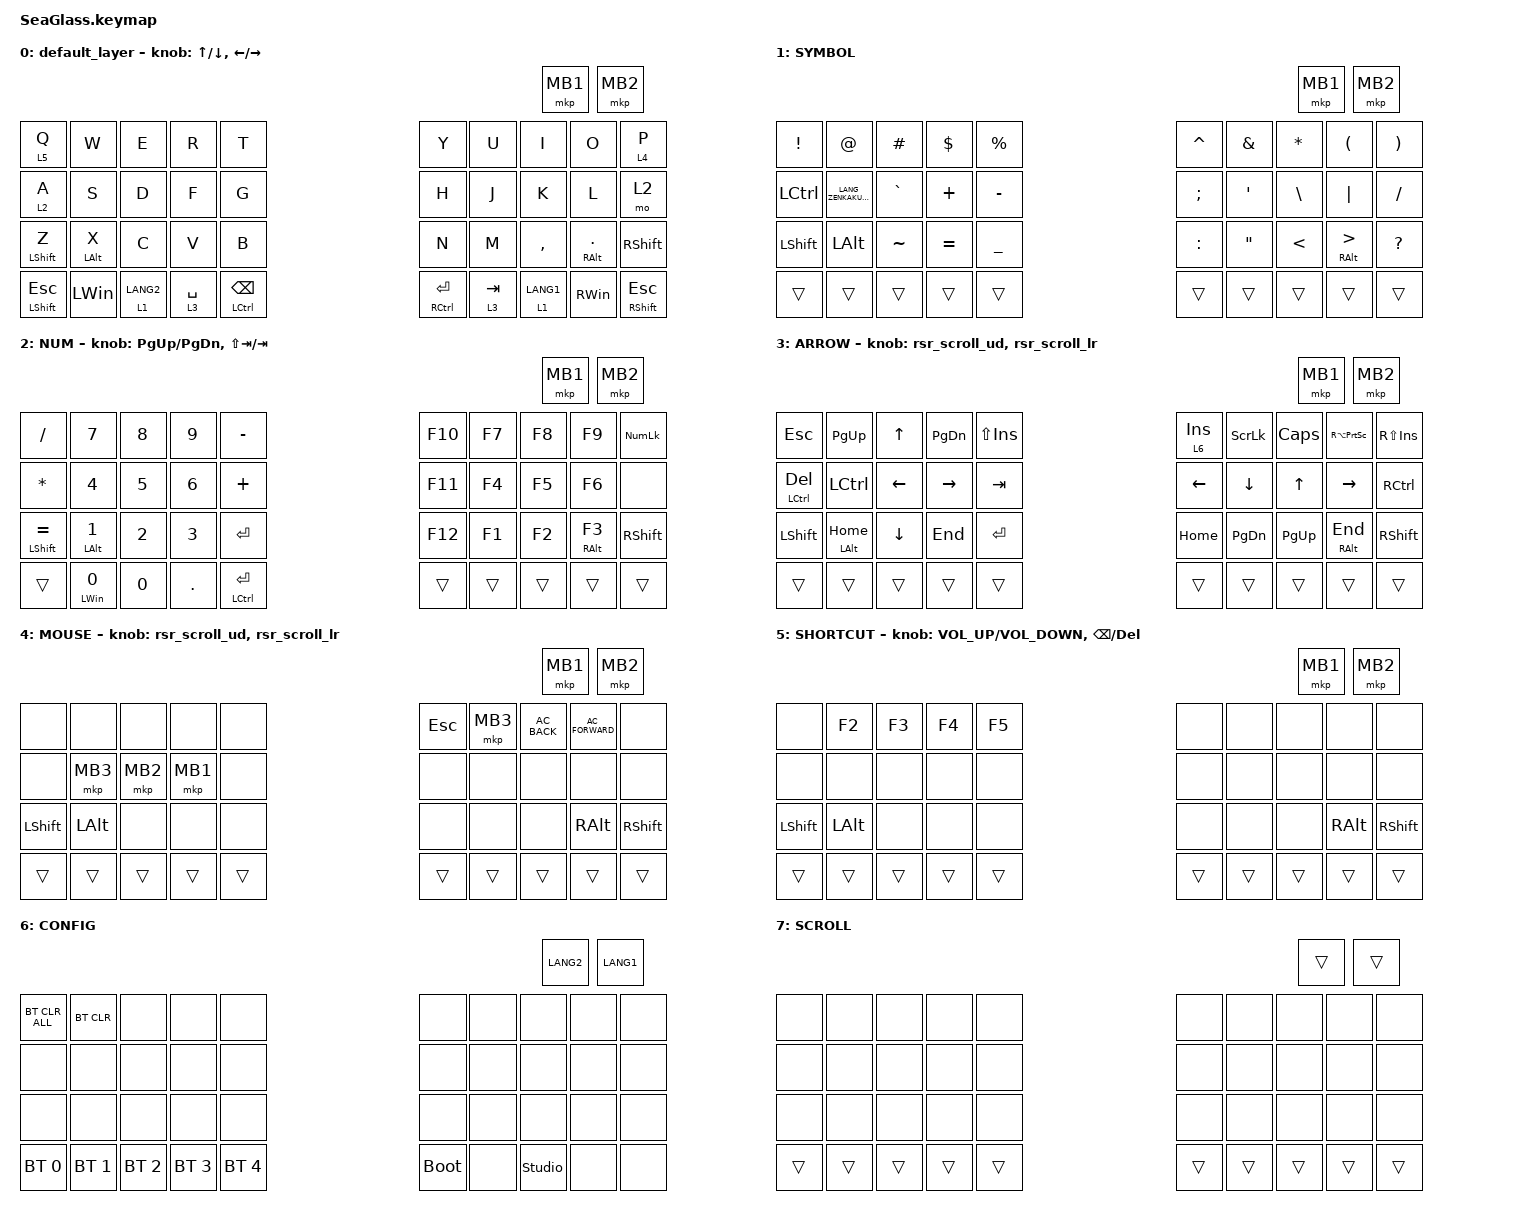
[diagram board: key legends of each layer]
// #include <layout_shift.dtsi>

#include <behaviors/runtime-sensor-rotate.dtsi>
#include <behaviors/runtime_macro.dtsi>
#include <behaviors.dtsi>
#include <dt-bindings/zmk/bt.h>
#include <dt-bindings/zmk/keys.h>
#include <dt-bindings/zmk/pointing.h>

#undef ZMK_POINTING_DEFAULT_SCRL_VAL

#define ZMK_POINTING_DEFAULT_SCRL_VAL 120

// &tog_ls { layout-maps = <&layout_shift_map_us_to_jis>; };
// &tog_ls_on { layout-maps = <&layout_shift_map_us_to_jis>; };
// &tog_ls_off { layout-maps = <&layout_shift_map_us_to_jis>; };

&mt {
    flavor = "balanced";
    quick-tap-ms = <300>;
};

&lt {
    flavor = "balanced";
    quick-tap-ms = <300>;
};

/ {
    runtime_combo_defaults {
        compatible = "cormoran,runtime-combo-defaults";

        middle-click {
            slot = <0>;
            bindings = <&mkp MB3>;
            key-positions = <40 41>;
            display-name = "Middle Click";
        };

        open-square-bracket {
            slot = <1>;
            bindings = <&kp LEFT_BRACKET>;
            key-positions = <16 17>;
            layers = <0>;
            display-name = "open-square-bracket";
        };

        close-square-bracket {
            slot = <2>;
            bindings = <&kp RIGHT_BRACKET>;
            key-positions = <17 18>;
            layers = <0>;
            display-name = "close-square-bracket";
        };

        open-brace {
            slot = <3>;
            bindings = <&kp LEFT_BRACE>;
            key-positions = <26 27>;
            layers = <0>;
            display-name = "open-brace";
        };

        close-brace {
            slot = <4>;
            bindings = <&kp RIGHT_BRACE>;
            key-positions = <27 28>;
            layers = <0>;
            display-name = "close-brace";
        };

        parentheses {
            slot = <5>;
            bindings = <&kakko>;
            key-positions = <6 8>;
            layers = <0>;
            display-name = "parentheses";
        };

        square-brackets {
            bindings = <&dai_kakkko>;
            key-positions = <16 18>;
            layers = <0>;
        };

        curly-brackets {
            bindings = <&nami_kakko>;
            key-positions = <26 28>;
        };
    };

    macros {
        to_layer_0: to_layer_0 {
            compatible = "zmk,behavior-macro-one-param";
            #binding-cells = <1>;
            bindings = <&to 0 &macro_param_1to1 &kp MACRO_PLACEHOLDER>;
            label = "TO_LAYER_0";
        };

        kakko: kakko {
            compatible = "zmk,behavior-macro";
            #binding-cells = <0>;
            bindings = <&kp LEFT_PARENTHESIS &kp RIGHT_PARENTHESIS &kp LEFT_ARROW>;
            label = "KAKKO";
        };

        dai_kakkko: daikakkko {
            compatible = "zmk,behavior-macro";
            #binding-cells = <0>;
            bindings = <&kp LEFT_BRACKET &kp RIGHT_BRACKET &kp LEFT_ARROW>;
            label = "DAIKAKKKO";
        };

        nami_kakko: nami_kakko {
            compatible = "zmk,behavior-macro";
            #binding-cells = <0>;
            bindings = <&kp LEFT_BRACE &kp RIGHT_BRACE &kp LEFT_ARROW>;
            label = "NAMI_KAKKO";
        };
    };

    behaviors {
        lt_to_layer_0: lt_to_layer_0 {
            compatible = "zmk,behavior-hold-tap";
            label = "LAYER_TAP_TO_0";
            bindings = <&mo>, <&to_layer_0>;

            #binding-cells = <2>;
            tapping-term-ms = <200>;
        };

        rsr_scroll_ud: rsr_scroll_ud {
            compatible = "zmk,behavior-runtime-sensor-rotate";
            #sensor-binding-cells = <0>;
            tap-ms = <20>;
            cw-binding = <&msc SCRL_UP>;
            ccw-binding = <&msc SCRL_DOWN>;
        };

        rsr_scroll_lr: rsr_scroll_lr {
            compatible = "zmk,behavior-runtime-sensor-rotate";
            #sensor-binding-cells = <0>;
            tap-ms = <20>;
            cw-binding = <&msc SCRL_RIGHT>;
            ccw-binding = <&msc SCRL_LEFT>;
        };

        // // Keymap Editor を使用すると include <layout_shift_kp_override.dtsi> が一番上に移動するため
        // // layout_shift_kp_override.dtsi の内容を直接記載
        // // Keep the original key_press behavior for ZMK core components
        // original_key_press: original_key_press {
        //     compatible = "zmk,behavior-key-press";
        //     #binding-cells = <1>;
        //     label = "KEY_PRESS";
        // };
        // // Override the existing &kp behavior to use our custom implementation
        // kp: key_press {
        //     compatible = "zmk,behavior-layout-shift-key-press";
        //     #binding-cells = <1>;
        //     label = "LAYOUT_SHIFT_KEY_PRESS";
        // };

        lt_hp: lt_hp {
            compatible = "zmk,behavior-hold-tap";
            label = "LT_HP";
            bindings = <&mo>, <&kp>;

            #binding-cells = <2>;
            tapping-term-ms = <200>;
            quick-tap-ms = <300>;
        };

        mt_hp: mt_hp {
            compatible = "zmk,behavior-hold-tap";
            label = "MT_HP";
            bindings = <&kp>, <&kp>;

            #binding-cells = <2>;
            tapping-term-ms = <200>;
            quick-tap-ms = <300>;
        };

        tl_tp: tl_tp {
            compatible = "zmk,behavior-hold-tap";
            label = "TL_TP";
            bindings = <&mo>, <&kp>;

            #binding-cells = <2>;
            tapping-term-ms = <200>;
            quick-tap-ms = <300>;
            flavor = "tap-preferred";
        };

        td_lalt_win: td_lalt_win {
            compatible = "zmk,behavior-tap-dance";
            label = "TD_LALT_WIN";
            #binding-cells = <0>;
            bindings = <&mt_hp LEFT_ALT LEFT_ALT>, <&kp LEFT_WIN>;
        };

        td_dot_alt_win: td_dot_alt_win {
            compatible = "zmk,behavior-tap-dance";
            label = "TD_DOT_ALT_WIN";
            #binding-cells = <0>;
            bindings = <&mt_hp LEFT_ALT PERIOD>, <&kp LEFT_WIN>;
        };

        td_x_alt_win: td_x_alt_win {
            compatible = "zmk,behavior-tap-dance";
            label = "TD_X_ALT_WIN";
            #binding-cells = <0>;
            bindings = <&mt_hp LEFT_ALT X>, <&kp LEFT_WIN>;
        };

        td_ralt_win: td_ralt_win {
            compatible = "zmk,behavior-tap-dance";
            label = "TD_RALT_WIN";
            #binding-cells = <0>;
            bindings = <&mt_hp RIGHT_ALT RIGHT_ALT>, <&kp LEFT_WIN>;
        };
    };

    keymap {
        compatible = "zmk,keymap";

        default_layer {
            bindings = <
&lt 5 Q                   &kp W              &kp E           &kp R           &kp T                   &kp Y                       &kp U         &kp I           &kp O                    &lt 4 P
&tl_tp 2 A                &kp S              &kp D           &kp F           &kp G                   &kp H                       &kp J         &kp K           &kp L                    &mo 2
&mt LEFT_SHIFT Z          &mt_hp LEFT_ALT X  &kp C           &kp V           &kp B                   &kp N                       &kp M         &kp COMMA       &mt_hp RIGHT_ALT PERIOD  &kp RSHFT
&mt_hp LEFT_SHIFT ESCAPE  &kp LEFT_WIN       &lt_hp 1 LANG2  &lt_hp 3 SPACE  &mt_hp LCTRL BACKSPACE  &mt_hp RIGHT_CONTROL ENTER  &lt_hp 3 TAB  &lt_hp 1 LANG1  &kp RIGHT_WIN            &mt_hp RIGHT_SHIFT ESCAPE
                                                                                                     &mkp MB1                    &mkp MB2
            >;

            sensor-bindings =
                <&inc_dec_kp UP_ARROW DOWN_ARROW>,
                <&inc_dec_kp LEFT_ARROW RIGHT_ARROW>;
        };

        SYMBOL {
            bindings = <
&kp EXCLAMATION   &kp AT_SIGN              &kp HASH   &kp DOLLAR  &kp PERCENT     &kp CARET      &kp AMPERSAND      &kp ASTERISK   &kp LEFT_PARENTHESIS           &kp RIGHT_PARENTHESIS
&kp LEFT_CONTROL  &kp LANG_ZENKAKUHANKAKU  &kp GRAVE  &kp PLUS    &kp MINUS       &kp SEMICOLON  &kp SINGLE_QUOTE   &kp BACKSLASH  &kp PIPE                       &kp SLASH
&kp LEFT_SHIFT    &kp LEFT_ALT             &kp TILDE  &kp EQUAL   &kp UNDERSCORE  &kp COLON      &kp DOUBLE_QUOTES  &kp LESS_THAN  &mt_hp RIGHT_ALT GREATER_THAN  &kp QUESTION
&trans            &trans                   &trans     &trans      &trans          &trans         &trans             &trans         &trans                         &trans
                                                                                  &mkp MB1       &mkp MB2
            >;
        };

        NUM {
            bindings = <
&kp SLASH             &kp NUMBER_7           &kp NUMBER_8  &kp NUMBER_9  &kp MINUS        &kp F10   &kp F7    &kp F8  &kp F9               &kp KP_NUMLOCK
&kp ASTERISK          &kp NUMBER_4           &kp NUMBER_5  &kp NUMBER_6  &kp PLUS         &kp F11   &kp F4    &kp F5  &kp F6               &none
&mt LEFT_SHIFT EQUAL  &mt LEFT_ALT NUMBER_1  &kp NUMBER_2  &kp NUMBER_3  &kp ENTER        &kp F12   &kp F1    &kp F2  &mt_hp RIGHT_ALT F3  &kp RSHFT
&trans                &mt LEFT_WIN NUMBER_0  &kp NUMBER_0  &kp PERIOD    &mt LCTRL ENTER  &trans    &trans    &trans  &trans               &trans
                                                                                          &mkp MB1  &mkp MB2
            >;

            sensor-bindings =
                <&inc_dec_kp PAGE_UP PAGE_DOWN>,
                <&inc_dec_kp LS(TAB) TAB>;
        };

        ARROW {
            bindings = <
&kp ESCAPE                  &kp PAGE_UP           &kp UP_ARROW    &kp PAGE_DOWN    &kp LS(INSERT)  &lt 6 INS       &kp SCROLLLOCK  &kp CAPSLOCK  &kp RA(PRINTSCREEN)   &kp RS(INSERT)
&mt_hp LEFT_CONTROL DELETE  &kp LEFT_CONTROL      &kp LEFT_ARROW  &kp RIGHT_ARROW  &kp TAB         &kp LEFT_ARROW  &kp DOWN_ARROW  &kp UP_ARROW  &kp RIGHT_ARROW       &kp RIGHT_CONTROL
&kp LEFT_SHIFT              &mt_hp LEFT_ALT HOME  &kp DOWN_ARROW  &kp END          &kp ENTER       &kp HOME        &kp PAGE_DOWN   &kp PAGE_UP   &mt_hp RIGHT_ALT END  &kp RIGHT_SHIFT
&trans                      &trans                &trans          &trans           &trans          &trans          &trans          &trans        &trans                &trans
                                                                                                   &mkp MB1        &mkp MB2
            >;

            sensor-bindings = <&rsr_scroll_ud &rsr_scroll_lr>;
        };

        MOUSE {
            bindings = <
&none           &none         &none     &none     &none   &kp ESCAPE  &mkp MB3  &kp C_AC_BACK  &kp C_AC_FORWARD  &none
&none           &mkp MB3      &mkp MB2  &mkp MB1  &none   &none       &none     &none          &none             &none
&kp LEFT_SHIFT  &kp LEFT_ALT  &none     &none     &none   &none       &none     &none          &kp RIGHT_ALT     &kp RIGHT_SHIFT
&trans          &trans        &trans    &trans    &trans  &trans      &trans    &trans         &trans            &trans
                                                          &mkp MB1    &mkp MB2
            >;

            sensor-bindings = <&rsr_scroll_ud &rsr_scroll_lr>;
        };

        SHORTCUT {
            bindings = <
&none           &kp F2        &kp F3  &kp F4  &kp F5  &none     &none     &none   &none          &none
&none           &none         &none   &none   &none   &none     &none     &none   &none          &none
&kp LEFT_SHIFT  &kp LEFT_ALT  &none   &none   &none   &none     &none     &none   &kp RIGHT_ALT  &kp RIGHT_SHIFT
&trans          &trans        &trans  &trans  &trans  &trans    &trans    &trans  &trans         &trans
                                                      &mkp MB1  &mkp MB2
            >;

            sensor-bindings =
                <&inc_dec_kp C_VOLUME_UP C_VOLUME_DOWN>,
                <&inc_dec_kp BACKSPACE DELETE>;
        };

        CONFIG {
            bindings = <
&bt BT_CLR_ALL  &bt BT_CLR    &none         &none         &none         &none        &none      &none           &none  &none
&none           &none         &none         &none         &none         &none        &none      &none           &none  &none
&none           &none         &none         &none         &none         &none        &none      &none           &none  &none
&bt BT_SEL 0    &bt BT_SEL 1  &bt BT_SEL 2  &bt BT_SEL 3  &bt BT_SEL 4  &bootloader  &none      &studio_unlock  &none  &none
                                                                        &kp LANG2    &kp LANG1
            >;
        };

        SCROLL {
            bindings = <
&none   &none   &none   &none   &none   &none   &none   &none   &none   &none
&none   &none   &none   &none   &none   &none   &none   &none   &none   &none
&none   &none   &none   &none   &none   &none   &none   &none   &none   &none
&trans  &trans  &trans  &trans  &trans  &trans  &trans  &trans  &trans  &trans
                                        &trans  &trans
            >;
        };
    };
};
